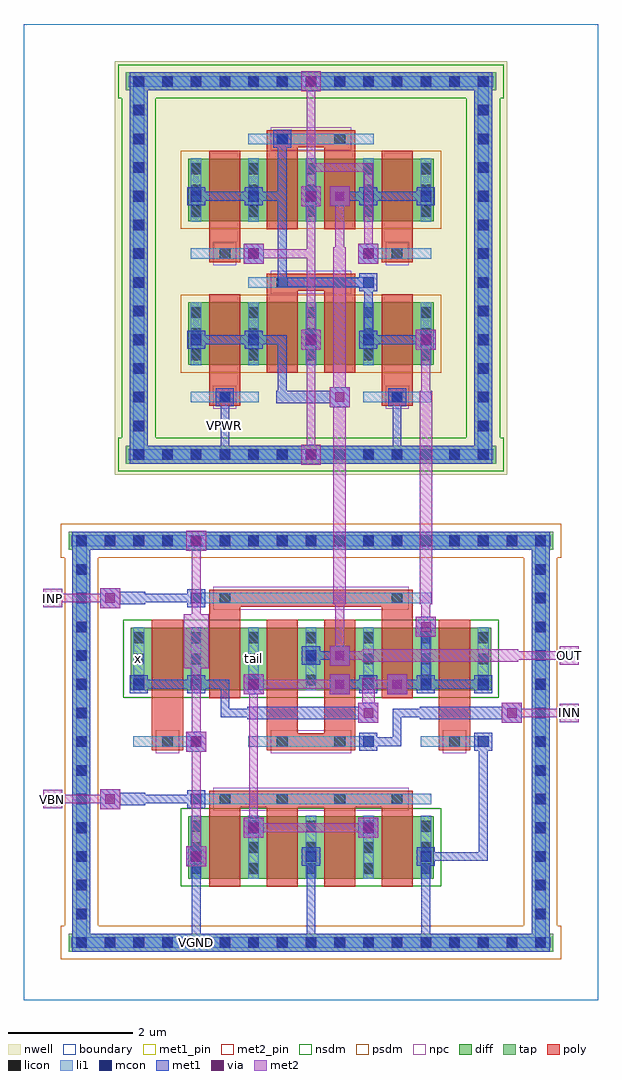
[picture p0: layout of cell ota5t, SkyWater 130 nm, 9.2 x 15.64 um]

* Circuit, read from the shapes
.subckt ota5t INN INP OUT VBN VGND VPWR tail x
XM1 x VGND x VGND sky130_fd_pr__nfet_01v8 w=1 l=0.5 m=2
XM2 tail VBN VGND VGND sky130_fd_pr__nfet_01v8 w=1 l=0.5 m=4
XM3 tail INP x VGND sky130_fd_pr__nfet_01v8 w=1 l=0.5 m=2
XM4 OUT INN tail VGND sky130_fd_pr__nfet_01v8 w=1 l=0.5 m=2
XM5 OUT VPWR OUT VPWR sky130_fd_pr__pfet_01v8 w=1 l=0.5 m=2
XM6 x VPWR x VPWR sky130_fd_pr__pfet_01v8 w=1 l=0.5 m=2
XM7 VPWR x OUT VPWR sky130_fd_pr__pfet_01v8 w=1 l=0.5 m=2
XM8 VPWR x x VPWR sky130_fd_pr__pfet_01v8 w=1 l=0.5 m=2
.ends

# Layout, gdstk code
import gdstk
lib = gdstk.Library(unit=1e-6, precision=1e-09)
def R(c, l, rs):  # rectangles x0, y0, x1, y1
    for r in rs: c.add(gdstk.rectangle(r[:2], r[2:], *l))
def A(c, l, x, y, w, h, nx, ny, dx, dy):  # array of equal rectangles
    R(c, l, [(x+i*dx, y+j*dy, x+i*dx+w, y+j*dy+h) for i in range(nx) for j in range(ny)])
nwell = (64, 20)
diff = (65, 20)
tap = (65, 44)
poly = (66, 20)
licon = (66, 44)
li1 = (67, 20)
mcon = (67, 44)
met1_pin = (68, 16)
met1 = (68, 20)
via = (68, 44)
met2_pin = (69, 16)
met2 = (69, 20)
nsdm = (93, 44)
psdm = (94, 20)
npc = (95, 20)
boundary = (235, 4)

ota5t = lib.new_cell('ota5t')
R(ota5t, nwell, [(1.455,8.415,7.745,15.045)])
R(ota5t, diff, [(2.635,1.945,6.565,2.945), (1.715,4.965,7.485,5.965), (2.635,10.18,6.565,11.18), (2.635,12.48,6.565,13.48)])
R(ota5t, tap, [(0.715,0.775,8.485,1.065), (0.775,0.775,1.065,7.505), (8.135,0.775,8.425,7.505), (0.715,7.215,8.485,7.505), (1.635,8.595,7.565,8.885), (1.695,8.595,1.985,14.865), (7.215,8.595,7.505,14.865), (1.635,14.575,7.565,14.865)])
A(ota5t, poly, 2.97, 1.815, 0.5, 1.405, 4, 1, 0.92, 0)
R(ota5t, poly, [(2.97,3.085,6.23,3.355), (2.05,4.005,2.55,4.275), (3.89,4.005,5.31,4.275), (6.65,4.005,7.15,4.275), (2.05,4.14,2.55,6.095), (3.89,4.14,4.39,6.095), (4.81,4.14,5.31,6.095), (6.65,4.14,7.15,6.095), (2.97,4.835,3.47,6.44), (5.73,4.835,6.23,6.44), (2.97,6.305,6.23,6.575), (2.97,9.525,3.47,9.795), (5.73,9.525,6.23,9.795), (2.97,9.66,3.47,11.31), (5.73,9.66,6.23,11.31), (3.89,10.05,4.39,11.5), (4.81,10.05,5.31,11.5), (3.89,11.365,5.31,11.635), (2.97,11.825,3.47,12.095), (5.73,11.825,6.23,12.095), (2.97,11.96,3.47,13.61), (5.73,11.96,6.23,13.61), (3.89,12.35,4.39,13.8), (4.81,12.35,5.31,13.8), (3.89,13.665,5.31,13.935)])
A(ota5t, licon, 0.835, 0.835, 0.17, 0.17, 17, 2, 0.46, 6.44)
A(ota5t, licon, 0.835, 1.295, 0.17, 0.17, 1, 13, 0, 0.46)
A(ota5t, licon, 8.195, 1.295, 0.17, 0.17, 1, 13, 0, 0.46)
A(ota5t, licon, 2.675, 2.02, 0.17, 0.17, 5, 3, 0.92, 0.34)
A(ota5t, licon, 3.135, 3.135, 0.17, 0.17, 4, 1, 0.92, 0)
A(ota5t, licon, 1.755, 5.04, 0.17, 0.17, 7, 3, 0.92, 0.34)
A(ota5t, licon, 1.755, 8.655, 0.17, 0.17, 13, 2, 0.46, 5.98)
A(ota5t, licon, 1.755, 9.115, 0.17, 0.17, 1, 12, 0, 0.46)
A(ota5t, licon, 7.275, 9.115, 0.17, 0.17, 1, 12, 0, 0.46)
A(ota5t, licon, 2.675, 10.255, 0.17, 0.17, 5, 3, 0.92, 0.34)
A(ota5t, licon, 2.675, 12.555, 0.17, 0.17, 5, 3, 0.92, 0.34)
R(ota5t, licon, [(2.215,4.055,2.385,4.225), (4.055,4.055,4.225,4.225), (4.975,4.055,5.145,4.225), (6.815,4.055,6.985,4.225), (3.135,6.355,3.305,6.525), (5.895,6.355,6.065,6.525), (3.135,9.575,3.305,9.745), (5.895,9.575,6.065,9.745), (4.055,11.415,4.225,11.585), (4.975,11.415,5.145,11.585), (3.135,11.875,3.305,12.045), (5.895,11.875,6.065,12.045), (4.055,13.715,4.225,13.885), (4.975,13.715,5.145,13.885)])
A(ota5t, li1, 2.675, 1.94, 0.17, 1.01, 5, 2, 0.92, 8.235)
A(ota5t, li1, 1.755, 4.96, 0.17, 1.01, 7, 1, 0.92, 0)
A(ota5t, li1, 2.675, 12.475, 0.17, 1.01, 5, 1, 0.92, 0)
R(ota5t, li1, [(0.755,0.835,8.445,1.005), (0.835,0.835,1.005,7.445), (8.195,0.835,8.365,7.445), (2.675,3.135,6.525,3.305), (1.755,4.055,2.845,4.225), (3.595,4.055,5.605,4.225), (6.355,4.055,7.445,4.225), (2.675,6.355,6.525,6.525), (0.755,7.275,8.445,7.445), (1.675,8.655,7.525,8.825), (1.755,8.655,1.925,14.805), (7.275,8.655,7.445,14.805), (2.675,9.575,3.765,9.745), (5.435,9.575,6.525,9.745), (3.595,11.415,5.605,11.585), (2.675,11.875,3.765,12.045), (5.435,11.875,6.525,12.045), (3.595,13.715,5.605,13.885), (1.675,14.635,7.525,14.805)])
A(ota5t, mcon, 0.835, 0.835, 0.17, 0.17, 17, 2, 0.46, 6.44)
A(ota5t, mcon, 0.835, 2.215, 0.17, 0.17, 5, 1, 1.84, 0)
A(ota5t, mcon, 0.835, 2.675, 0.17, 0.17, 1, 5, 0, 0.46)
A(ota5t, mcon, 8.195, 2.675, 0.17, 0.17, 1, 5, 0, 0.46)
A(ota5t, mcon, 0.835, 4.975, 0.17, 0.17, 4, 1, 0.92, 0)
A(ota5t, mcon, 5.435, 4.975, 0.17, 0.17, 4, 1, 0.92, 0)
A(ota5t, mcon, 0.835, 5.435, 0.17, 0.17, 3, 1, 3.68, 0)
A(ota5t, mcon, 0.835, 5.895, 0.17, 0.17, 1, 3, 0, 0.46)
A(ota5t, mcon, 8.195, 5.895, 0.17, 0.17, 1, 3, 0, 0.46)
A(ota5t, mcon, 1.755, 8.655, 0.17, 0.17, 13, 2, 0.46, 5.98)
A(ota5t, mcon, 1.755, 9.115, 0.17, 0.17, 1, 3, 0, 0.46)
A(ota5t, mcon, 7.275, 9.115, 0.17, 0.17, 1, 3, 0, 0.46)
A(ota5t, mcon, 1.755, 10.495, 0.17, 0.17, 7, 2, 0.92, 2.3)
A(ota5t, mcon, 1.755, 11.415, 0.17, 0.17, 1, 3, 0, 0.92)
A(ota5t, mcon, 7.275, 11.415, 0.17, 0.17, 1, 3, 0, 0.92)
A(ota5t, mcon, 1.755, 11.875, 0.17, 0.17, 4, 1, 1.84, 0)
R(ota5t, mcon, [(0.835,1.295,1.005,1.465), (8.195,1.295,8.365,1.465), (0.835,1.755,1.005,1.925), (8.195,1.755,8.365,1.925), (3.595,2.675,3.765,2.845), (5.435,2.675,5.605,2.845), (2.675,3.135,2.845,3.305), (2.675,4.055,2.845,4.225), (5.435,4.055,5.605,4.225), (7.275,4.055,7.445,4.225), (2.675,6.355,2.845,6.525), (3.135,9.575,3.305,9.745), (5.895,9.575,6.065,9.745), (1.755,10.955,1.925,11.125), (7.275,10.955,7.445,11.125), (5.435,11.415,5.605,11.585), (1.755,13.715,1.925,13.885), (4.055,13.715,4.225,13.885), (7.275,13.715,7.445,13.885), (1.755,14.175,1.925,14.345), (7.275,14.175,7.445,14.345)])
R(ota5t, met1_pin, [(2.69,0.85,2.83,0.99), (3.15,8.67,3.29,9.73)])
A(ota5t, met1, 2.69, 0.85, 0.14, 1.52, 3, 1, 1.84, 0)
A(ota5t, met1, 2.615, 2.155, 0.29, 0.29, 3, 1, 1.84, 0)
A(ota5t, met1, 1.695, 4.915, 0.29, 0.29, 3, 1, 0.92, 0)
A(ota5t, met1, 5.375, 4.915, 0.29, 0.29, 3, 1, 0.92, 0)
A(ota5t, met1, 2.615, 10.435, 0.29, 0.29, 5, 2, 0.92, 2.3)
R(ota5t, met1, [(0.775,0.775,8.425,1.065), (0.775,0.775,1.065,7.505), (8.135,0.775,8.425,7.505), (2.69,0.85,2.83,0.99), (2.69,0.85,4.67,0.99), (4.53,0.85,6.51,0.99), (2.6,2.14,2.92,2.46), (6.37,2.23,7.43,2.37), (7.29,2.23,7.43,4.21), (3.52,2.6,3.84,2.92), (5.36,2.6,5.68,2.92), (3.535,2.615,3.825,2.905), (5.375,2.615,5.665,2.905), (1.22,3.06,1.54,3.38), (2.615,3.075,2.905,3.365), (1.28,3.12,1.94,3.32), (1.77,3.15,2.83,3.29), (2.6,3.98,2.92,4.3), (2.615,3.995,2.905,4.285), (5.375,3.995,5.665,4.285), (7.215,3.995,7.505,4.285), (5.45,4.07,6.05,4.21), (5.91,4.07,6.05,4.67), (5.36,4.44,5.68,4.76), (7.66,4.44,7.98,4.76), (3.58,4.5,5.62,4.7), (6.34,4.5,7.92,4.7), (3.15,4.53,3.75,4.67), (3.15,4.53,3.29,5.13), (5.91,4.53,6.51,4.67), (3.52,4.9,3.84,5.22), (4.9,4.9,5.22,5.22), (5.82,4.9,6.14,5.22), (1.77,4.99,2.83,5.13), (2.69,4.99,3.29,5.13), (4.99,4.99,5.59,5.13), (5.91,4.99,6.51,5.13), (6.37,4.99,7.43,5.13), (6.37,4.99,6.51,6.05), (4.9,5.36,5.22,5.68), (4.455,5.375,4.745,5.665), (4.53,5.45,5.13,5.59), (6.28,5.82,6.6,6.14), (1.22,6.28,1.54,6.6), (2.615,6.295,2.905,6.585), (1.28,6.34,1.94,6.54), (1.77,6.37,2.83,6.51), (2.6,7.2,2.92,7.52), (0.775,7.215,8.425,7.505), (2.69,7.29,2.83,7.43), (4.44,8.58,4.76,8.9), (1.695,8.595,7.505,8.885), (1.695,8.595,1.985,14.865), (7.215,8.595,7.505,14.865), (3.15,8.67,4.67,8.81), (3.15,8.67,3.29,9.73), (4.53,8.67,6.05,8.81), (4.53,8.67,4.67,8.81), (5.91,8.67,6.05,9.73), (4.9,9.5,5.22,9.82), (3.075,9.515,3.365,9.805), (5.835,9.515,6.125,9.805), (4.04,9.56,5.16,9.76), (4.07,9.59,4.21,10.65), (4.44,10.42,4.76,10.74), (6.28,10.42,6.6,10.74), (2.69,10.51,3.75,10.65), (3.61,10.51,4.21,10.65), (5.45,10.51,6.51,10.65), (5.45,10.51,5.59,11.57), (5.375,11.355,5.665,11.645), (4.07,11.43,5.59,11.57), (4.07,11.43,4.21,12.95), (3.52,11.8,3.84,12.12), (5.36,11.8,5.68,12.12), (3.535,11.815,3.825,12.105), (5.375,11.815,5.665,12.105), (4.44,12.72,4.76,13.04), (4.9,12.72,5.22,13.04), (2.69,12.81,3.75,12.95), (3.61,12.81,4.21,12.95), (4.07,12.81,4.21,13.87), (4.99,12.81,5.59,12.95), (5.45,12.81,6.51,12.95), (3.995,13.655,4.285,13.945), (4.44,14.56,4.76,14.88), (1.695,14.575,7.505,14.865), (4.53,14.65,4.67,14.79)])
R(ota5t, via, [(2.685,2.225,2.835,2.375), (3.605,2.685,3.755,2.835), (5.445,2.685,5.595,2.835), (1.305,3.145,1.455,3.295), (2.685,4.065,2.835,4.215), (5.445,4.525,5.595,4.675), (7.745,4.525,7.895,4.675), (3.605,4.985,3.755,5.135), (4.985,4.985,5.135,5.135), (5.905,4.985,6.055,5.135), (4.985,5.445,5.135,5.595), (6.365,5.905,6.515,6.055), (1.305,6.365,1.455,6.515), (2.685,7.285,2.835,7.435), (4.525,8.665,4.675,8.815), (4.985,9.585,5.135,9.735), (4.525,10.505,4.675,10.655), (6.365,10.505,6.515,10.655), (3.605,11.885,3.755,12.035), (5.445,11.885,5.595,12.035), (4.525,12.805,4.675,12.955), (4.985,12.805,5.135,12.955), (4.525,14.645,4.675,14.795)])
R(ota5t, met2_pin, [(0.31,3.07,0.61,3.37), (8.59,4.45,8.89,4.75), (8.59,5.37,8.89,5.67), (0.31,6.29,0.61,6.59)])
R(ota5t, met2, [(2.6,2.14,2.92,2.46), (2.69,2.23,2.83,4.21), (3.52,2.6,3.84,2.92), (5.36,2.6,5.68,2.92), (3.61,2.69,3.75,5.13), (3.61,2.69,5.59,2.83), (1.22,3.06,1.54,3.38), (0.31,3.07,0.61,3.37), (0.39,3.15,0.53,3.29), (0.39,3.15,1.45,3.29), (2.6,3.98,2.92,4.3), (2.69,4.07,2.83,5.59), (5.36,4.44,5.68,4.76), (7.66,4.44,7.98,4.76), (8.59,4.45,8.89,4.75), (5.42,4.5,5.62,5.16), (7.75,4.53,8.81,4.67), (8.67,4.53,8.81,4.67), (3.52,4.9,3.84,5.22), (4.9,4.9,5.22,5.22), (5.82,4.9,6.14,5.22), (3.61,4.99,5.13,5.13), (5.45,4.99,6.05,5.13), (2.56,5.32,2.96,6.18), (4.9,5.36,5.22,5.68), (8.59,5.37,8.89,5.67), (5.42,5.42,7.92,5.62), (4.99,5.45,5.59,5.59), (4.99,5.45,5.13,6.51), (7.75,5.45,8.81,5.59), (8.67,5.45,8.81,5.59), (6.28,5.82,6.6,6.14), (2.69,5.91,2.83,7.43), (6.37,5.91,6.51,6.51), (1.22,6.28,1.54,6.6), (0.31,6.29,0.61,6.59), (4.96,6.34,5.16,9.76), (6.34,6.34,6.54,9.76), (0.39,6.37,0.53,6.51), (0.39,6.37,1.45,6.51), (2.6,7.2,2.92,7.52), (4.44,8.58,4.76,8.9), (4.53,8.67,4.67,10.65), (4.9,9.5,5.22,9.82), (4.96,9.56,5.16,12.06), (6.37,9.59,6.51,10.65), (4.44,10.42,4.76,10.74), (6.28,10.42,6.6,10.74), (4.53,10.51,4.67,12.95), (3.52,11.8,3.84,12.12), (5.36,11.8,5.68,12.12), (3.61,11.89,4.67,12.03), (4.99,11.89,5.13,12.95), (5.45,11.89,5.59,13.41), (4.44,12.72,4.76,13.04), (4.9,12.72,5.22,13.04), (4.53,12.81,4.67,14.79), (4.53,13.27,5.59,13.41), (4.44,14.56,4.76,14.88)])
R(ota5t, nsdm, [(2.51,1.82,6.69,3.07), (1.59,4.84,7.61,6.09), (1.51,8.47,7.69,9.01), (1.57,9.01,2.11,14.45), (7.09,9.01,7.63,14.45), (1.51,14.45,7.69,14.99)])
R(ota5t, psdm, [(0.59,0.65,8.61,1.19), (0.65,1.19,1.19,7.09), (8.01,1.19,8.55,7.09), (0.59,7.09,8.61,7.63), (2.51,10.055,6.69,11.305), (2.51,12.355,6.69,13.605)])
R(ota5t, npc, [(3.035,3.035,6.165,3.405), (2.115,3.955,2.485,4.325), (3.955,3.955,5.245,4.325), (6.715,3.955,7.085,4.325), (3.035,6.255,6.165,6.625), (3.035,9.475,3.405,9.845), (5.795,9.475,6.165,9.845), (3.955,11.315,5.245,11.685), (3.035,11.775,3.405,12.145), (5.795,11.775,6.165,12.145), (3.955,13.615,5.245,13.985)])
R(ota5t, boundary, [(0,0,9.2,15.64)])
ota5t.add(gdstk.Label('x', (1.84,5.465), layer=67, texttype=5))
ota5t.add(gdstk.Label('tail', (3.68,5.465), layer=67, texttype=5))
ota5t.add(gdstk.Label('VPWR', (3.22,9.2), layer=68, texttype=5))
ota5t.add(gdstk.Label('VGND', (2.76,0.92), layer=68, texttype=5))
ota5t.add(gdstk.Label('INP', (0.46,6.44), layer=69, texttype=5))
ota5t.add(gdstk.Label('INN', (8.74,4.6), layer=69, texttype=5))
ota5t.add(gdstk.Label('VBN', (0.46,3.22), layer=69, texttype=5))
ota5t.add(gdstk.Label('OUT', (8.74,5.52), layer=69, texttype=5))
ota5t.add(gdstk.Label('VPWR', (3.22,9.2), layer=68, texttype=16))
ota5t.add(gdstk.Label('VGND', (2.76,0.92), layer=68, texttype=16))
ota5t.add(gdstk.Label('INP', (0.46,6.44), layer=69, texttype=16))
ota5t.add(gdstk.Label('INN', (8.74,4.6), layer=69, texttype=16))
ota5t.add(gdstk.Label('VBN', (0.46,3.22), layer=69, texttype=16))
ota5t.add(gdstk.Label('OUT', (8.74,5.52), layer=69, texttype=16))

lib.write_gds('ota5t.gds')
